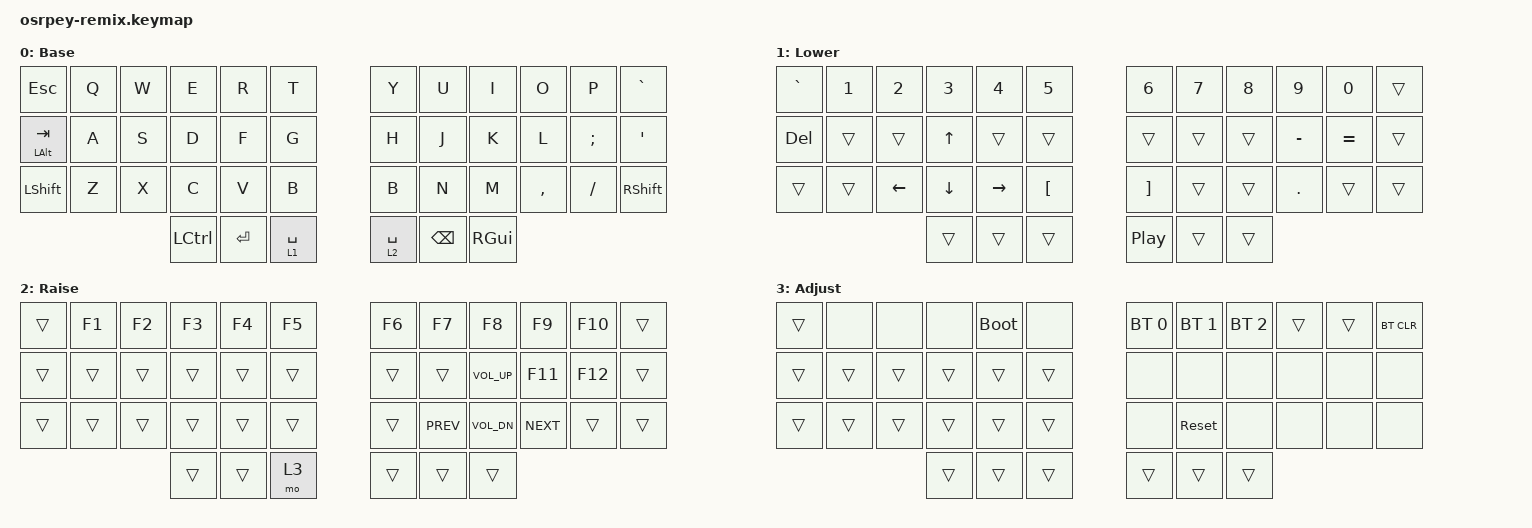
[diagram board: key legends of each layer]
#include <behaviors.dtsi>
#include <dt-bindings/zmk/bt.h>
#include <dt-bindings/zmk/keys.h>

&mt {
    flavor = "balanced";
    tapping-term-ms = <250>;
};

/ {
    combos {
        compatible = "zmk,combos";

        printscreen {
            bindings = <&kp PRINTSCREEN>;
            key-positions = <40 37>;
        };
    };

    keymap {
        compatible = "zmk,keymap";

        default_layer {
            display-name = "Base";
            bindings = <
&kp ESCAPE        &kp Q  &kp W  &kp E      &kp R      &kp T        &kp Y        &kp U          &kp I          &kp O      &kp P     &kp GRAVE
&mt LEFT_ALT TAB  &kp A  &kp S  &kp D      &kp F      &kp G        &kp H        &kp J          &kp K          &kp L      &kp SEMI  &kp SQT
&kp LSHFT         &kp Z  &kp X  &kp C      &kp V      &kp B        &kp B        &kp N          &kp M          &kp COMMA  &kp FSLH  &kp RSHFT
                                &kp LCTRL  &kp ENTER  &lt 1 SPACE  &lt 2 SPACE  &kp BACKSPACE  &kp RIGHT_GUI
            >;
        };

        lower_layer {
            display-name = "Lower";
            bindings = <
&kp GRAVE   &kp NUMBER_1  &kp NUMBER_2  &kp NUMBER_3  &kp NUMBER_4  &kp NUMBER_5      &kp NUMBER_6       &kp NUMBER_7  &kp NUMBER_8  &kp NUMBER_9  &kp NUMBER_0  &trans
&kp DELETE  &trans        &trans        &kp UP_ARROW  &trans        &trans            &trans             &trans        &trans        &kp MINUS     &kp EQUAL     &trans
&trans      &trans        &kp LEFT      &kp DOWN      &kp RIGHT     &kp LEFT_BRACKET  &kp RIGHT_BRACKET  &trans        &trans        &kp DOT       &trans        &trans
                                        &trans        &trans        &trans            &kp C_PLAY_PAUSE   &trans        &trans
            >;
        };

        raise_layer {
            display-name = "Raise";
            bindings = <
&trans  &kp F1  &kp F2  &kp F3  &kp F4  &kp F5  &kp F6  &kp F7      &kp F8           &kp F9      &kp F10  &trans
&trans  &trans  &trans  &trans  &trans  &trans  &trans  &trans      &kp C_VOLUME_UP  &kp F11     &kp F12  &trans
&trans  &trans  &trans  &trans  &trans  &trans  &trans  &kp C_PREV  &kp C_VOL_DN     &kp C_NEXT  &trans   &trans
                        &trans  &trans  &mo 3   &trans  &trans      &trans
            >;
        };

        adjust_layer {
            display-name = "Adjust";
            bindings = <
&trans  &none   &none   &none   &bootloader  &none   &bt BT_SEL 0  &bt BT_SEL 1  &bt BT_SEL 2  &trans  &trans  &bt BT_CLR
&trans  &trans  &trans  &trans  &trans       &trans  &none         &none         &none         &none   &none   &none
&trans  &trans  &trans  &trans  &trans       &trans  &none         &sys_reset    &none         &none   &none   &none
                        &trans  &trans       &trans  &trans        &trans        &trans
            >;
        };
    };
};
